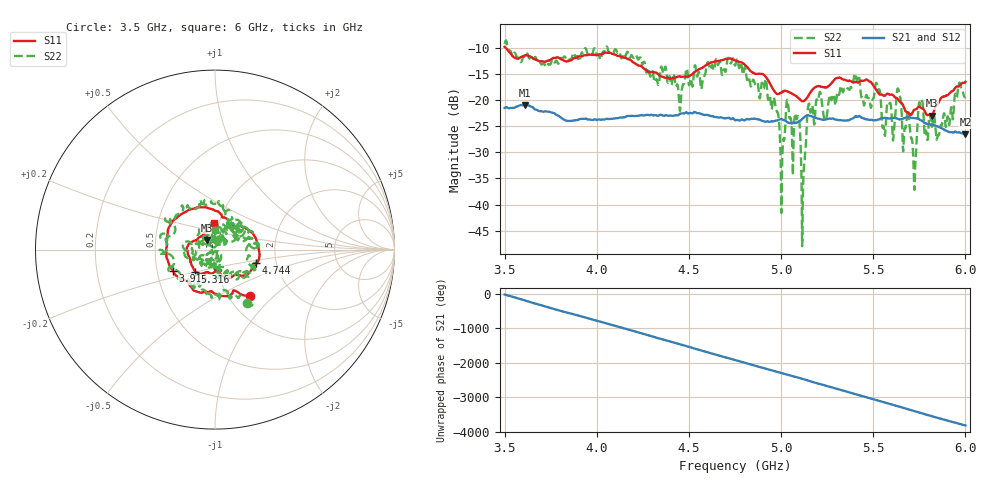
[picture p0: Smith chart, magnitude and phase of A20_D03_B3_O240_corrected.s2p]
! Created with skrf 1.9.0 (http://scikit-rf.org).
# Hz S RI R 50.0
!freq ReS11 ImS11 ReS21 ImS21 ReS12 ImS12 ReS22 ImS22
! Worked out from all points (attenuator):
!   1601 points, 3.5 GHz to 6 GHz, reference 50 ohm
!   highest |S21| = -20.90 dB at 3.611 GHz (marker M1); lowest = -26.5 dB at 6 GHz (marker M2)
!   lowest |S11| = -23.0 dB at 5.817 GHz (marker M3), VSWR 1.15, Z = 45.3 + j4.89 ohm
!   |S11| at or under -10 dB: 3.507 GHz to end of sweep
!   |S22| runs from -48.0 to -8.6 dB; largest |S21 - S12| = 0.001
!   S11 on the Smith chart (normalised r, x): 3.5 GHz: 1.25, -0.72; 3.916 GHz: 0.61, -0.16; 4.744 GHz: 1.57, -0.26; 5.316 GHz: 0.78, -0.20; 6 GHz: 0.94, +0.29
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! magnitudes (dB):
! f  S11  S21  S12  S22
! 3.5 GHz  -9.8  -21.5  -21.5  -9.2
! 3.611 GHz  -11.4  -20.9  -20.9  -11.8
! 3.916 GHz  -11.6  -23.6  -23.6  -11.1
! 3.917 GHz  -11.6  -23.6  -23.6  -10.9
! 4.334 GHz  -15.1  -23.0  -22.9  -17.1
! 4.744 GHz  -12.3  -23.6  -23.5  -12.5
! 4.75 GHz  -12.4  -23.8  -23.8  -13.4
! 4.967 GHz  -18.4  -24.0  -23.9  -20.6
! 5.006 GHz  -18.5  -23.7  -23.7  -31.4
! 5.034 GHz  -18.3  -24.3  -24.2  -19.9
! 5.088 GHz  -19.4  -24.3  -24.2  -23.4
! 5.12 GHz  -20.2  -23.4  -23.3  -35.6
! 5.145 GHz  -19.3  -22.9  -22.9  -21.5
! 5.167 GHz  -18.1  -23.1  -23.1  -21.2
! 5.316 GHz  -15.7  -23.8  -23.8  -18.9
! 5.584 GHz  -18.9  -23.5  -23.5  -20.5
! 5.611 GHz  -19.2  -23.4  -23.3  -26.6
! 5.639 GHz  -20.0  -23.6  -23.6  -18.4
! 5.722 GHz  -21.9  -23.4  -23.4  -36.2
! 5.755 GHz  -21.3  -23.8  -23.7  -20.8
! 5.817 GHz  -23.0  -24.7  -24.6  -25.1
! 6 GHz  -16.5  -26.5  -26.4  -19.4
